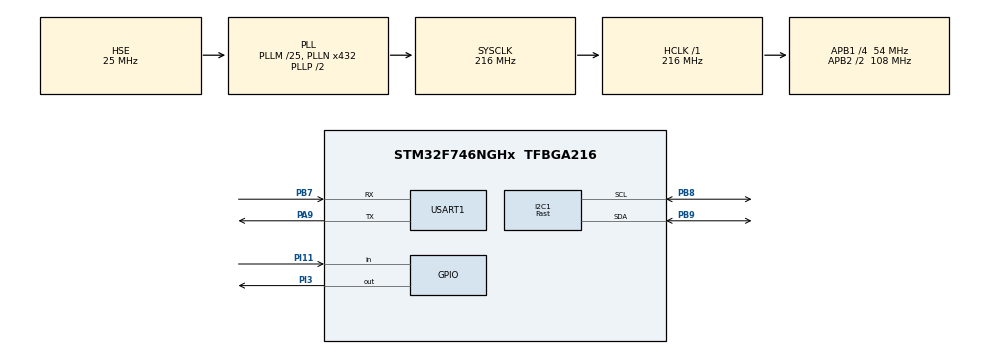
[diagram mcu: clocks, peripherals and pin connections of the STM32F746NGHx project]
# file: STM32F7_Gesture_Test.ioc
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CORTEX_M7.CPU_DCache=Enabled
CORTEX_M7.CPU_ICache=Enabled
I2C1.I2C_Speed_Mode=I2C_Fast
I2C1.Timing=0x6000030D
Mcu.Family=STM32F7
Mcu.Name=STM32F746NGHx
Mcu.Package=TFBGA216
NVIC.PriorityGroup=NVIC_PRIORITYGROUP_4
PA9.Mode=Asynchronous
PA9.Signal=USART1_TX
PB7.Mode=Asynchronous
PB7.Signal=USART1_RX
PB8.Mode=I2C
PB8.Signal=I2C1_SCL
PB9.Mode=I2C
PB9.Signal=I2C1_SDA
PH0/OSC_IN.Mode=HSE-External-Oscillator
PH0/OSC_IN.Signal=RCC_OSC_IN
PH1/OSC_OUT.Mode=HSE-External-Oscillator
PH1/OSC_OUT.Signal=RCC_OSC_OUT
PI11.Signal=GPIO_Input
PI3.Signal=GPIO_Output
ProjectManager.HeapSize=0x800
ProjectManager.StackSize=0x800
ProjectManager.TargetToolchain=STM32CubeIDE
RCC.AHBFreq_Value=216000000
RCC.APB1CLKDivider=RCC_HCLK_DIV4
RCC.APB1Freq_Value=54000000
RCC.APB1TimFreq_Value=108000000
RCC.APB2CLKDivider=RCC_HCLK_DIV2
RCC.APB2Freq_Value=108000000
RCC.APB2TimFreq_Value=216000000
RCC.CortexFreq_Value=216000000
RCC.HCLKFreq_Value=216000000
RCC.HSE_VALUE=25000000
RCC.HSI_VALUE=16000000
RCC.LSE_VALUE=32768
RCC.PLL48CLockSelection=RCC_CLK48SOURCE_PLLSAIP
RCC.PLLI2SN=100
RCC.PLLM=25
RCC.PLLN=432
RCC.PLLP=2
RCC.PLLQ=9
RCC.PLLSAIN=384
RCC.PLLSAIP=RCC_PLLSAIP_DIV8
RCC.PLLSAIR=5
RCC.PLLSAIRDiv=RCC_PLLSAIDIVR_8
RCC.PLLSourceVirtual=RCC_PLLSOURCE_HSE
RCC.SDMMCClockSelection=RCC_SDMMC1CLKSOURCE_CLK48
RCC.SYSCLKFreq_VALUE=216000000
RCC.SYSCLKSource=RCC_SYSCLKSOURCE_PLLCLK
RCC.USBFreq_Value=48000000
RCC.VCOOutputFreq_Value=432000000
STMicroelectronics.X-CUBE-AI.7.3.0.ActivationBufferSizeList=8388
STMicroelectronics.X-CUBE-AI.7.3.0.ActivationBuffers=pool0
STMicroelectronics.X-CUBE-AI.7.3.0.ActivationNames=pool0
STMicroelectronics.X-CUBE-AI.7.3.0.ActivationSizes=AI_GESTURE_RECOGNITION_DATA_ACTIVATION_1_SIZE
STMicroelectronics.X-CUBE-AI.7.3.0.HeapSize=0x800
STMicroelectronics.X-CUBE-AI.7.3.0.InternalRamActivationBufferMaxSize=AI_GESTURE_RECOGNITION_DATA_ACTIVATIONS_SIZE
STMicroelectronics.X-CUBE-AI.7.3.0.LatestDirectoryUsed-ef28f2ca6382a71aedffc4a893b851912d4a0b17b40f2edc6ea16ffde3ef31b3=C\:\\Users\\danie\\Desktop\\EIB_Semester_7_WS22\\Projekt_Arbeit\\Python\\AI_Python\\data\\models
STMicroelectronics.X-CUBE-AI.7.3.0.MaximumNumberOfInputLayer=1
STMicroelectronics.X-CUBE-AI.7.3.0.MaximumNumberOfOutputLayer=1
STMicroelectronics.X-CUBE-AI.7.3.0.MaximumSizeOfInputLayer=1
STMicroelectronics.X-CUBE-AI.7.3.0.MaximumSizeOfOutputLayer=1
STMicroelectronics.X-CUBE-AI.7.3.0.ModelActualCompression-ef28f2ca6382a71aedffc4a893b851912d4a0b17b40f2edc6ea16ffde3ef31b3=0.0
STMicroelectronics.X-CUBE-AI.7.3.0.ModelCompression-ef28f2ca6382a71aedffc4a893b851912d4a0b17b40f2edc6ea16ffde3ef31b3=None
STMicroelectronics.X-CUBE-AI.7.3.0.ModelFlashOccupation-ef28f2ca6382a71aedffc4a893b851912d4a0b17b40f2edc6ea16ffde3ef31b3=419984
STMicroelectronics.X-CUBE-AI.7.3.0.ModelHashList=ef28f2ca6382a71aedffc4a893b851912d4a0b17b40f2edc6ea16ffde3ef31b3
STMicroelectronics.X-CUBE-AI.7.3.0.ModelKind-ef28f2ca6382a71aedffc4a893b851912d4a0b17b40f2edc6ea16ffde3ef31b3=TFLITE
STMicroelectronics.X-CUBE-AI.7.3.0.ModelMacc-ef28f2ca6382a71aedffc4a893b851912d4a0b17b40f2edc6ea16ffde3ef31b3=101536
STMicroelectronics.X-CUBE-AI.7.3.0.ModelName-ef28f2ca6382a71aedffc4a893b851912d4a0b17b40f2edc6ea16ffde3ef31b3=gesture_recognition
STMicroelectronics.X-CUBE-AI.7.3.0.ModelNameList=gesture_recognition
STMicroelectronics.X-CUBE-AI.7.3.0.ModelRamOccupation-ef28f2ca6382a71aedffc4a893b851912d4a0b17b40f2edc6ea16ffde3ef31b3=8388
STMicroelectronics.X-CUBE-AI.7.3.0.ModelStructureFile-ef28f2ca6382a71aedffc4a893b851912d4a0b17b40f2edc6ea16ffde3ef31b3=C\:\\Users\\danie\\Desktop\\EIB_Semester_7_WS22\\Projekt_Arbeit\\Python\\AI_Python\\data\\models\\model_2023-02-26_13-01-28.tflite
STMicroelectronics.X-CUBE-AI.7.3.0.ModelType-ef28f2ca6382a71aedffc4a893b851912d4a0b17b40f2edc6ea16ffde3ef31b3=STM32Cube.AI runtime
STMicroelectronics.X-CUBE-AI.7.3.0.ReadyForCodeGeneration=true
STMicroelectronics.X-CUBE-AI.7.3.0.StackSize=0x800
STMicroelectronics.X-CUBE-AI.7.3.0.WorkingBufferStartAddrList=0xFFFFFFFF
STMicroelectronics.X-CUBE-AI.7.3.0.XAaCUBEAaAICcArtificialOoIntelligenceJjCore=true
STMicroelectronics.X-CUBE-AI.7.3.0.classifier-ef28f2ca6382a71aedffc4a893b851912d4a0b17b40f2edc6ea16ffde3ef31b3=true
STMicroelectronics.X-CUBE-AI.7.3.0.copyWeightToRam=false
STMicroelectronics.X-CUBE-AI.7.3.0.copyWeightToRam-ef28f2ca6382a71aedffc4a893b851912d4a0b17b40f2edc6ea16ffde3ef31b3=false
STMicroelectronics.X-CUBE-AI.7.3.0.customLayerConfigEnabled=false
STMicroelectronics.X-CUBE-AI.7.3.0.customLayerConfigEnabled-ef28f2ca6382a71aedffc4a893b851912d4a0b17b40f2edc6ea16ffde3ef31b3=false
STMicroelectronics.X-CUBE-AI.7.3.0.useInputAllocation=true
STMicroelectronics.X-CUBE-AI.7.3.0.useInputAllocation-ef28f2ca6382a71aedffc4a893b851912d4a0b17b40f2edc6ea16ffde3ef31b3=true
STMicroelectronics.X-CUBE-AI.7.3.0.useOutputAllocation=true
STMicroelectronics.X-CUBE-AI.7.3.0.useOutputAllocation-ef28f2ca6382a71aedffc4a893b851912d4a0b17b40f2edc6ea16ffde3ef31b3=true
USART1.VirtualMode-Asynchronous=VM_ASYNC
VP_CRC_VS_CRC.Mode=CRC_Activate
VP_STMicroelectronics.X-CUBE-AI_VS_ArtificialOoIntelligenceJjXAaCUBEAaAI_7.3.0.Mode=ArtificialOoIntelligenceJjXAaCUBEAaAI
board=STM32F746G-DISCO

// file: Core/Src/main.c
/* USER CODE BEGIN Header */
/**
  ******************************************************************************
  * @file           : main.c
  * @brief          : Main program body
  ******************************************************************************
  * @attention
  *
  * Copyright (c) 2023 STMicroelectronics.
  * All rights reserved.
  *
  * This software is licensed under terms that can be found in the LICENSE file
  * in the root directory of this software component.
  * If no LICENSE file comes with this software, it is provided AS-IS.
  *
  ******************************************************************************
  */
/* USER CODE END Header */
#include "main.h"

/* USER CODE BEGIN Includes */
#include "gesture_recognition.h"
#include "gesture_recognition_data.h"
#include "ai_platform.h"

#include "bno055_acc.h"
#include "uart.h"
#include "createInputData.h"
#include <stdio.h>
#include <string.h>
/* USER CODE END Includes */

CRC_HandleTypeDef hcrc;

I2C_HandleTypeDef hi2c1;

UART_HandleTypeDef huart1;

/* USER CODE BEGIN PV */

GPIO_PinState userButton;

/* USER CODE END PV */

void SystemClock_Config(void);
static void MX_GPIO_Init(void);
static void MX_CRC_Init(void);
static void MX_USART1_UART_Init(void);
static void MX_I2C1_Init(void);

int main(void)
{
  /* USER CODE BEGIN 1 */
  uint8_t unit;
  float input_data[1506];
  char str[500];
  ai_error ai_err;
  ai_i32 nbatch;
  float y_val[10];
  int predicted_number = 0;

  // Global handle to reference the instantiated C-model
  static ai_handle gesture_recognition = AI_HANDLE_NULL;

  // Chunk of memory used to hold intermediate values for neural network
  AI_ALIGNED(32) static ai_u8 activations[AI_GESTURE_RECOGNITION_DATA_ACTIVATIONS_SIZE];

  // Buffers used to store input and output tensors
  AI_ALIGNED(32) static ai_i8 in_data[AI_GESTURE_RECOGNITION_IN_1_SIZE_BYTES];
  AI_ALIGNED(32) static ai_i8 out_data[AI_GESTURE_RECOGNITION_OUT_1_SIZE_BYTES];

  // Array of pointer to manage the model's input/output tensors
  static ai_buffer *ai_input;
  static ai_buffer *ai_output;

  /* USER CODE END 1 */

  /* Enable I-Cache---------------------------------------------------------*/
  SCB_EnableICache();

  /* Enable D-Cache---------------------------------------------------------*/
  SCB_EnableDCache();

  /* MCU Configuration--------------------------------------------------------*/

  /* Reset of all peripherals, Initializes the Flash interface and the Systick. */
  HAL_Init();

  /* Configure the system clock */
  SystemClock_Config();

  /* Initialize all configured peripherals */
  MX_GPIO_Init();
  MX_CRC_Init();
  MX_USART1_UART_Init();
  MX_I2C1_Init();
  /* USER CODE BEGIN 2 */
  // Reset sequence -> bno055 can be configured
  HAL_GPIO_WritePin(GPIOI, GPIO_PIN_3, GPIO_PIN_RESET);
  HAL_Delay(300);
  HAL_GPIO_WritePin(GPIOI, GPIO_PIN_3, GPIO_PIN_SET);
  HAL_Delay(600);

  UART_assignHandel(huart1);
  bno055_assignHandel(hi2c1);

  bno055_setOperationMode(ACCGYRO);

  unit = bno055_readUnit();

  // Check if the unit of the sensor values is m/s^2 and Deg./sec
  if(unit != 0x80){
	  bno055_setUnit();
  }

  // Clear Terminal and print header
  UARTprintf("\033[2J\033[H");
  UARTprintln("\r\n\r\nSTM32 X-Cube-AI - Gesture recognition NN\r\n");

  // Create and initialize the c-model
  const ai_handle acts[] = { activations };
  ai_err = ai_gesture_recognition_create_and_init(&gesture_recognition, acts, NULL);
  if (ai_err.type != AI_ERROR_NONE){
	  UARTprintln("Error: could not initialize NN\r\n");
  }

  // Receive pointers to the model's input/output tensors
  ai_input = ai_gesture_recognition_inputs_get(gesture_recognition, NULL);
  ai_output = ai_gesture_recognition_outputs_get(gesture_recognition, NULL);

  /* USER CODE END 2 */

  /* Infinite loop */
  while (1)
  {

    /* USER CODE BEGIN 3 */

	userButton = HAL_GPIO_ReadPin(GPIOI, GPIO_PIN_11);

	if(userButton == GPIO_PIN_SET){

		// Receive input data for the NN
		acquire_and_process_data(input_data);

		// Fill the input buffer
		for(uint32_t i = 0; i < AI_GESTURE_RECOGNITION_IN_1_SIZE; i++){
			((ai_float *)in_data)[i] = (ai_float)input_data[i];
		}

		// Update IO handlers with the data payload
		ai_input[0].data = AI_HANDLE_PTR(in_data);
		ai_output[0].data = AI_HANDLE_PTR(out_data);

		// Perform the inference (feed in the input data to the NN)
		nbatch = ai_gesture_recognition_run(gesture_recognition, &ai_input[0], &ai_output[0]);
		if (nbatch != 1) {
			UARTprintln("Error: could not run inference\r\n");
		}

		// Transfer the output data (output data = probability of the gestures 0 to 9)
		for(int i = 0; i < AI_GESTURE_RECOGNITION_OUT_1_SIZE; i++){
			y_val[i] = ((float *)out_data)[i];
		}

		// Determine the number of the gesture with the highest probability
		for(int i = 0; i < AI_GESTURE_RECOGNITION_OUT_1_SIZE; i++){
			if(y_val[i] > y_val[predicted_number]){
				predicted_number = i;
			}
		}

		// Print the results of the NN on to the serial terminal
		UARTprintln("\n");
		sprintf(str, "Probability: 0: %.4f, 1: %.4f, 2, %.4f, 3: %.4f, 4: %.4f, 5: %.4f, 6: %.4f, 7: %.4f, 8: %.4f, 9: %.4f", y_val[0], y_val[1], y_val[2], y_val[3], y_val[4], y_val[5], y_val[6], y_val[7], y_val[8], y_val[9]);
		UARTprintln(str);

		sprintf(str, "Predicted number: %d", predicted_number);
		UARTprintln(str);

		// Delay of 500ms
		HAL_Delay(500);
	}
  }
  /* USER CODE END 3 */
}

void SystemClock_Config(void)
{
  RCC_OscInitTypeDef RCC_OscInitStruct = {0};
  RCC_ClkInitTypeDef RCC_ClkInitStruct = {0};

  /** Configure the main internal regulator output voltage
  */
  __HAL_RCC_PWR_CLK_ENABLE();
  __HAL_PWR_VOLTAGESCALING_CONFIG(PWR_REGULATOR_VOLTAGE_SCALE1);

  /** Initializes the RCC Oscillators according to the specified parameters
  * in the RCC_OscInitTypeDef structure.
  */
  RCC_OscInitStruct.OscillatorType = RCC_OSCILLATORTYPE_HSE;
  RCC_OscInitStruct.HSEState = RCC_HSE_ON;
  RCC_OscInitStruct.PLL.PLLState = RCC_PLL_ON;
  RCC_OscInitStruct.PLL.PLLSource = RCC_PLLSOURCE_HSE;
  RCC_OscInitStruct.PLL.PLLM = 25;
  RCC_OscInitStruct.PLL.PLLN = 432;
  RCC_OscInitStruct.PLL.PLLP = 2;
  RCC_OscInitStruct.PLL.PLLQ = 9;
  if (HAL_RCC_OscConfig(&RCC_OscInitStruct) != HAL_OK)
  {
    Error_Handler();
  }

  /** Activate the Over-Drive mode
  */
  if (HAL_PWREx_EnableOverDrive() != HAL_OK)
  {
    Error_Handler();
  }

  /** Initializes the CPU, AHB and APB buses clocks
  */
  RCC_ClkInitStruct.ClockType = RCC_CLOCKTYPE_HCLK|RCC_CLOCKTYPE_SYSCLK
                              |RCC_CLOCKTYPE_PCLK1|RCC_CLOCKTYPE_PCLK2;
  RCC_ClkInitStruct.SYSCLKSource = RCC_SYSCLKSOURCE_PLLCLK;
  RCC_ClkInitStruct.AHBCLKDivider = RCC_SYSCLK_DIV1;
  RCC_ClkInitStruct.APB1CLKDivider = RCC_HCLK_DIV4;
  RCC_ClkInitStruct.APB2CLKDivider = RCC_HCLK_DIV2;

  if (HAL_RCC_ClockConfig(&RCC_ClkInitStruct, FLASH_LATENCY_7) != HAL_OK)
  {
    Error_Handler();
  }
}

static void MX_CRC_Init(void)
{

  hcrc.Instance = CRC;
  hcrc.Init.DefaultPolynomialUse = DEFAULT_POLYNOMIAL_ENABLE;
  hcrc.Init.DefaultInitValueUse = DEFAULT_INIT_VALUE_ENABLE;
  hcrc.Init.InputDataInversionMode = CRC_INPUTDATA_INVERSION_NONE;
  hcrc.Init.OutputDataInversionMode = CRC_OUTPUTDATA_INVERSION_DISABLE;
  hcrc.InputDataFormat = CRC_INPUTDATA_FORMAT_BYTES;
  if (HAL_CRC_Init(&hcrc) != HAL_OK)
  {
    Error_Handler();
  }

}

static void MX_I2C1_Init(void)
{

  hi2c1.Instance = I2C1;
  hi2c1.Init.Timing = 0x6000030D;
  hi2c1.Init.OwnAddress1 = 0;
  hi2c1.Init.AddressingMode = I2C_ADDRESSINGMODE_7BIT;
  hi2c1.Init.DualAddressMode = I2C_DUALADDRESS_DISABLE;
  hi2c1.Init.OwnAddress2 = 0;
  hi2c1.Init.OwnAddress2Masks = I2C_OA2_NOMASK;
  hi2c1.Init.GeneralCallMode = I2C_GENERALCALL_DISABLE;
  hi2c1.Init.NoStretchMode = I2C_NOSTRETCH_DISABLE;
  if (HAL_I2C_Init(&hi2c1) != HAL_OK)
  {
    Error_Handler();
  }

  /** Configure Analogue filter
  */
  if (HAL_I2CEx_ConfigAnalogFilter(&hi2c1, I2C_ANALOGFILTER_ENABLE) != HAL_OK)
  {
    Error_Handler();
  }

  /** Configure Digital filter
  */
  if (HAL_I2CEx_ConfigDigitalFilter(&hi2c1, 0) != HAL_OK)
  {
    Error_Handler();
  }

}

static void MX_USART1_UART_Init(void)
{

  huart1.Instance = USART1;
  huart1.Init.BaudRate = 115200;
  huart1.Init.WordLength = UART_WORDLENGTH_8B;
  huart1.Init.StopBits = UART_STOPBITS_1;
  huart1.Init.Parity = UART_PARITY_NONE;
  huart1.Init.Mode = UART_MODE_TX_RX;
  huart1.Init.HwFlowCtl = UART_HWCONTROL_NONE;
  huart1.Init.OverSampling = UART_OVERSAMPLING_16;
  huart1.Init.OneBitSampling = UART_ONE_BIT_SAMPLE_DISABLE;
  huart1.AdvancedInit.AdvFeatureInit = UART_ADVFEATURE_NO_INIT;
  if (HAL_UART_Init(&huart1) != HAL_OK)
  {
    Error_Handler();
  }

}

static void MX_GPIO_Init(void)
{
  GPIO_InitTypeDef GPIO_InitStruct = {0};

  /* GPIO Ports Clock Enable */
  __HAL_RCC_GPIOB_CLK_ENABLE();
  __HAL_RCC_GPIOI_CLK_ENABLE();
  __HAL_RCC_GPIOA_CLK_ENABLE();
  __HAL_RCC_GPIOH_CLK_ENABLE();

  /*Configure GPIO pin Output Level */
  HAL_GPIO_WritePin(GPIOI, GPIO_PIN_3, GPIO_PIN_RESET);

  /*Configure GPIO pin : PI3 */
  GPIO_InitStruct.Pin = GPIO_PIN_3;
  GPIO_InitStruct.Mode = GPIO_MODE_OUTPUT_PP;
  GPIO_InitStruct.Pull = GPIO_NOPULL;
  GPIO_InitStruct.Speed = GPIO_SPEED_FREQ_LOW;
  HAL_GPIO_Init(GPIOI, &GPIO_InitStruct);

  /*Configure GPIO pin : PI11 */
  GPIO_InitStruct.Pin = GPIO_PIN_11;
  GPIO_InitStruct.Mode = GPIO_MODE_INPUT;
  GPIO_InitStruct.Pull = GPIO_NOPULL;
  HAL_GPIO_Init(GPIOI, &GPIO_InitStruct);

}

void Error_Handler(void)
{
  __disable_irq();
  while (1)
  {
  }
}
